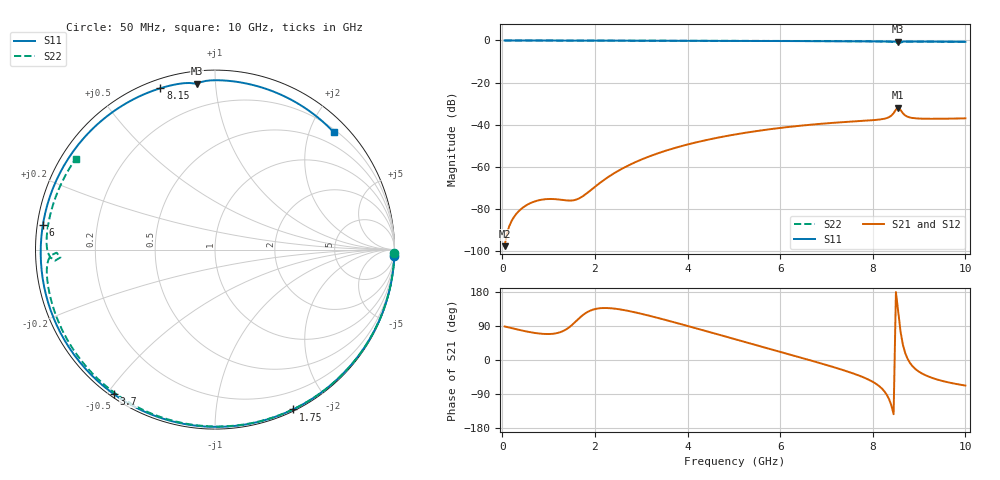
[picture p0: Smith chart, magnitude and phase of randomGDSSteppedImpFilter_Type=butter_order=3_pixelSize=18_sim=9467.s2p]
! freq	dB(S11)	phase(S11)	dB(S12)	phase(S12)
!  dB(S21)	phase(S21)	dB(S22)	phase(S22)
!S-par simulation data
#  GHz  S  DB  R 50
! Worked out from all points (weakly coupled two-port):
!   200 points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, 50 MHz to 10 GHz, reference 50 ohm
!   highest |S21| = -31.86 dB at 8.55 GHz (marker M1); lowest = -97.6 dB at 50 MHz (marker M2)
!   lowest |S11| = -0.6 dB at 8.55 GHz (marker M3), VSWR 27.62, Z = 3.27 + j44.8 ohm
!   |S11| at or under -10 dB: nowhere
!   |S22| runs from -1.3 to 0.0 dB; largest |S21 - S12| = 0
!   S11 on the Smith chart (normalised r, x): 50 MHz: 0, -60; 1.75 GHz: 0.02, -1.60; 3.7 GHz: 0.01, -0.52; 6 GHz: 0.02, +0.07; 8.15 GHz: 0.04, +0.72; 10 GHz: 0.25, +2.41
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0.05  -0.00 -1.9  -97.64 88.5  -97.64 88.5  -0.00 -1.1
0.4  -0.02 -15.1  -80.11 78.5  -80.11 78.5  -0.01 -9.0
0.8  -0.04 -30.1  -75.79 69.8  -75.79 69.8  -0.02 -18.0
1.05  -0.05 -39.2  -75.23 68.8  -75.23 68.8  -0.03 -23.6
1.5  -0.07 -55.3  -75.95 91.9  -75.95 91.9  -0.04 -33.5
1.75  -0.08 -64.0  -73.76 119.4  -73.76 119.4  -0.05 -39.0
2.5  -0.11 -88.8  -61.93 134.3  -61.93 134.3  -0.07 -55.1
3.4  -0.14 -116.3  -53.27 109.7  -53.27 109.7  -0.10 -73.9
3.7  -0.15 -125.0  -51.19 99.9  -51.19 99.9  -0.11 -80.1
4.4  -0.18 -144.7  -47.30 76.3  -47.30 76.3  -0.14 -94.1
5.05  -0.22 -162.4  -44.53 54.1  -44.53 54.1  -0.17 -107.0
6  -0.28 171.8  -41.52 21.6  -41.52 21.6  -0.22 -125.6
6.7  -0.33 152.4  -39.90 -2.6  -39.90 -2.6  -0.28 -139.4
7.4  -0.38 132.0  -38.70 -28.2  -38.70 -28.2  -0.34 -153.6
8.15  -0.45 108.7  -37.52 -70.1  -37.52 -70.1  -0.45 -169.9
8.35  -0.49 102.1  -36.41 -102.9  -36.41 -102.9  -0.56 -175.1
8.5  -0.60 97.2  -32.81 179.4  -32.81 179.4  -1.08 -178.9
8.55  -0.63 96.1  -31.86 125.8  -31.86 125.8  -1.29 -177.1
8.7  -0.51 91.2  -35.58 18.5  -35.58 18.5  -0.62 -178.9
8.85  -0.51 86.0  -36.77 -15.2  -36.77 -15.2  -0.54 176.7
9.4  -0.56 66.5  -37.17 -51.9  -37.17 -51.9  -0.58 162.7
10  -0.63 44.7  -36.95 -67.3  -36.95 -67.3  -0.66 147.0
